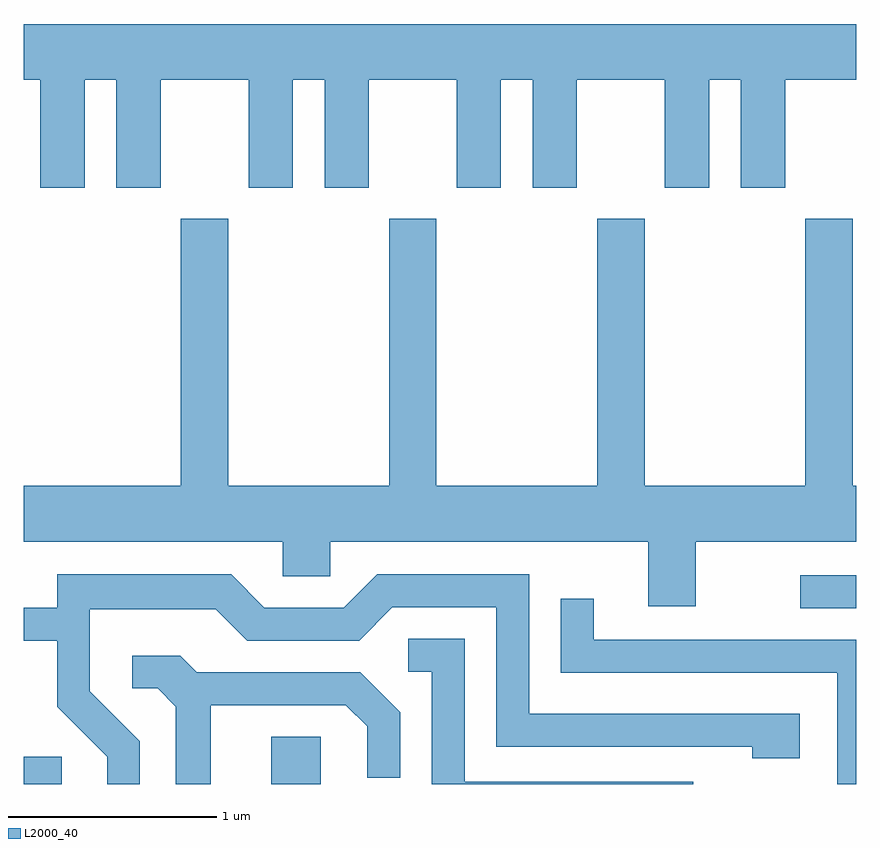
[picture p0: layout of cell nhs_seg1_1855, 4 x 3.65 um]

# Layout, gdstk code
import gdstk
lib = gdstk.Library(unit=1e-6, precision=1e-09)
def R(c, l, rs):  # rectangles x0, y0, x1, y1
    for r in rs: c.add(gdstk.rectangle(r[:2], r[2:], *l))
def P(c, l, *ps):  # polygons
    for p in ps: c.add(gdstk.Polygon(p, *l))
L2000_40 = (2000, 40)

nhs_seg1_1855 = lib.new_cell('nhs_seg1_1855')
R(nhs_seg1_1855, L2000_40, [(241.611,931.712,241.794,931.844), (242.801,931.712,243.039,931.939), (245.343,932.556,245.611,932.714)])
P(nhs_seg1_1855, L2000_40, [(241.904,935.096),(242.056,935.096),(242.056,934.576),(242.269,934.576),(242.269,935.096),(242.691,935.096),(242.691,934.576),(242.904,934.576),(242.904,935.096),(243.056,935.096),(243.056,934.576),(243.269,934.576),(243.269,935.096),(243.691,935.096),(243.691,934.576),(243.904,934.576),(243.904,935.096),(244.056,935.096),(244.056,934.576),(244.269,934.576),(244.269,935.096),(244.691,935.096),(244.691,934.576),(244.904,934.576),(244.904,935.096),(245.056,935.096),(245.056,934.576),(245.269,934.576),(245.269,935.096),(245.611,935.096),(245.611,935.364),(241.611,935.364),(241.611,935.096),(241.691,935.096),(241.691,934.576),(241.904,934.576)],
  [(244.839,932.876),(245.611,932.876),(245.611,933.144),(245.594,933.144),(245.594,934.429),(245.366,934.429),(245.366,933.144),(244.594,933.144),(244.594,934.429),(244.366,934.429),(244.366,933.144),(243.594,933.144),(243.594,934.429),(243.366,934.429),(243.366,933.144),(242.594,933.144),(242.594,934.429),(242.366,934.429),(242.366,933.144),(241.611,933.144),(241.611,932.876),(242.856,932.876),(242.856,932.711),(243.084,932.711),(243.084,932.876),(244.611,932.876),(244.611,932.566),(244.839,932.566)],
  [(242.169,931.917),(241.929,932.157),(241.929,932.551),(242.534,932.551),(242.684,932.401),(243.222,932.401),(243.382,932.561),(243.881,932.561),(243.881,931.891),(245.111,931.891),(245.111,931.836),(245.339,931.836),(245.339,932.049),(244.039,932.049),(244.039,932.719),(243.309,932.719),(243.149,932.559),(242.767,932.559),(242.607,932.719),(241.771,932.719),(241.771,932.559),(241.611,932.559),(241.611,932.401),(241.771,932.401),(241.771,932.084),(242.011,931.844),(242.011,931.712),(242.169,931.712)],
  [(245.611,932.404),(244.349,932.404),(244.349,932.603),(244.191,932.603),(244.191,932.246),(245.521,932.246),(245.521,931.712),(245.611,931.712)],
  [(244.828,931.724),(243.729,931.724),(243.729,932.409),(243.458,932.409),(243.458,932.251),(243.571,932.251),(243.571,931.712),(244.828,931.712)],
  [(242.509,932.091),(243.159,932.091),(243.261,931.989),(243.261,931.743),(243.419,931.743),(243.419,932.057),(243.227,932.249),(242.442,932.249),(242.362,932.329),(242.133,932.329),(242.133,932.171),(242.254,932.171),(242.341,932.084),(242.341,931.712),(242.509,931.712)])

lib.write_gds('nhs_seg1_1855.gds')
